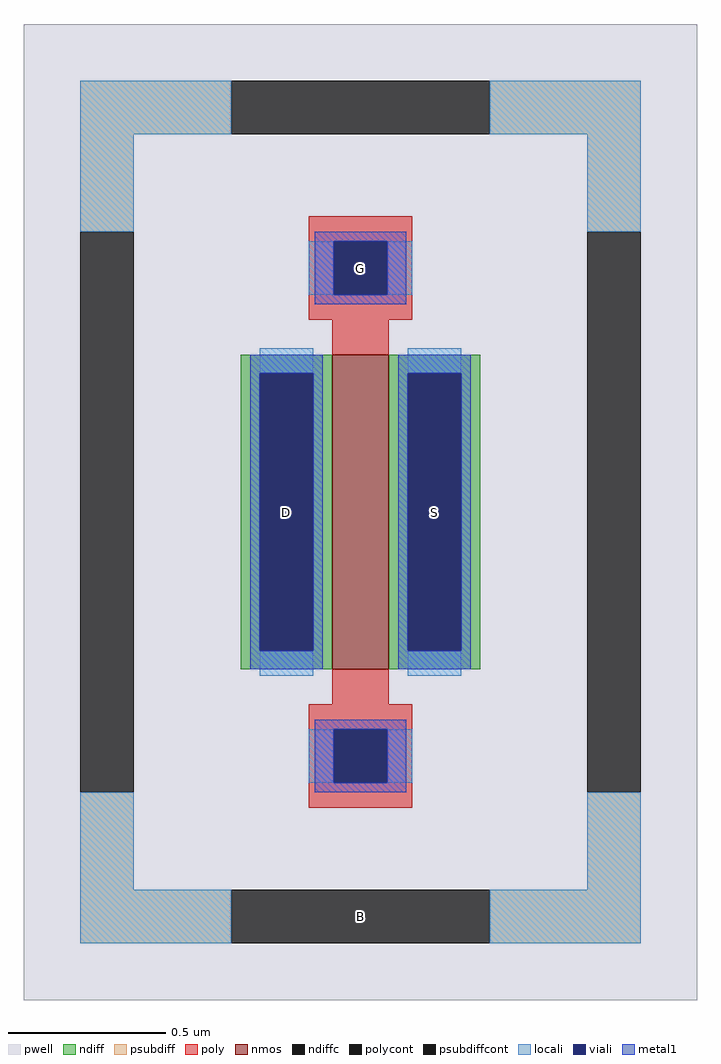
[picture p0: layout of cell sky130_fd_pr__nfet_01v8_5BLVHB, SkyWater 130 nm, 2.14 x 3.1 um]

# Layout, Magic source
magic
tech sky130A
magscale 1 2
<< pwell >>
rect -214 -310 214 310
<< nmos >>
rect -18 -100 18 100
<< ndiff >>
rect -76 88 -18 100
rect -76 -88 -64 88
rect -30 -88 -18 88
rect -76 -100 -18 -88
rect 18 88 76 100
rect 18 -88 30 88
rect 64 -88 76 88
rect 18 -100 76 -88
<< ndiffc >>
rect -64 -88 -30 88
rect 30 -88 64 88
<< psubdiff >>
rect -178 240 -82 274
rect 82 240 178 274
rect -178 178 -144 240
rect 144 178 178 240
rect -178 -240 -144 -178
rect 144 -240 178 -178
rect -178 -274 -82 -240
rect 82 -274 178 -240
<< psubdiffcont >>
rect -82 240 82 274
rect -178 -178 -144 178
rect 144 -178 178 178
rect -82 -274 82 -240
<< poly >>
rect -33 172 33 188
rect -33 138 -17 172
rect 17 138 33 172
rect -33 122 33 138
rect -18 100 18 122
rect -18 -122 18 -100
rect -33 -138 33 -122
rect -33 -172 -17 -138
rect 17 -172 33 -138
rect -33 -188 33 -172
<< polycont >>
rect -17 138 17 172
rect -17 -172 17 -138
<< locali >>
rect -178 240 -82 274
rect 82 240 178 274
rect -178 178 -144 240
rect 144 178 178 240
rect -33 138 -17 172
rect 17 138 33 172
rect -64 88 -30 104
rect -64 -104 -30 -88
rect 30 88 64 104
rect 30 -104 64 -88
rect -33 -172 -17 -138
rect 17 -172 33 -138
rect -178 -240 -144 -178
rect 144 -240 178 -178
rect -178 -274 -82 -240
rect 82 -274 178 -240
<< viali >>
rect -17 138 17 172
rect -64 -88 -30 88
rect 30 -88 64 88
rect -17 -172 17 -138
<< metal1 >>
rect -29 172 29 178
rect -29 138 -17 172
rect 17 138 29 172
rect -29 132 29 138
rect -70 88 -24 100
rect -70 -88 -64 88
rect -30 -88 -24 88
rect -70 -100 -24 -88
rect 24 88 70 100
rect 24 -88 30 88
rect 64 -88 70 88
rect 24 -100 70 -88
rect -29 -138 29 -132
rect -29 -172 -17 -138
rect 17 -172 29 -138
rect -29 -178 29 -172
<< labels >>
rlabel psubdiffcont 0 -257 0 -257 0 B
port 5 nsew
rlabel ndiffc -47 0 -47 0 0 D
port 6 nsew
rlabel ndiffc 47 0 47 0 0 S
port 7 nsew
rlabel polycont 0 155 0 155 0 G
port 8 nsew
<< properties >>
string FIXED_BBOX -161 -257 161 257
string gencell sky130_fd_pr__nfet_01v8
string library sky130
string parameters w 1 l 0.18 m 1 nf 1 diffcov 100 polycov 100 guard 1 glc 1 grc 1 gtc 1 gbc 1 tbcov 100 rlcov 100 topc 1 botc 1 poverlap 0 doverlap 1 lmin 0.15 wmin 0.42 class mosfet compatible {sky130_fd_pr__nfet_01v8 sky130_fd_pr__nfet_01v8_lvt  sky130_fd_bs_flash__special_sonosfet_star  sky130_fd_pr__nfet_g5v0d10v5 sky130_fd_pr__nfet_05v0_nvt  sky130_fd_pr__nfet_03v3_nvt} full_metal 1 conn_gates 0 viasrc 100 viadrn 100 viagate 100 viagb 0 viagr 0 viagl 0 viagt 0 doports 1
<< end >>
